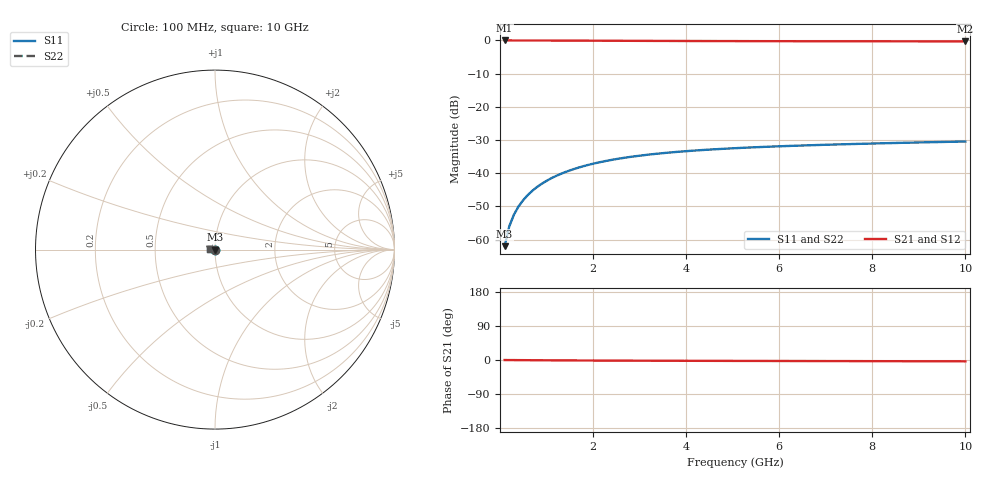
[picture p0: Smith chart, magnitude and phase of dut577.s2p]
! Touchstone file exported from HFSS 2024.1.0
!  File:  C:/UserFiles/LocalFiles/RDL_TSV_Batchsim/temp_TSV1_577_1779708716.aedt
!  Generated:  07:38:24 PM May 25, 2026
!  Design:  TSV1
!  Project:  temp_TSV1_577_1779708716
!  Setup:  Setup1
!  Solution:  Sweep
! Variables:
!  dtsv = 9.91um
!  hbump = 3um
!  htsv = 51.32um
!  lrdl = 252.1521522um
!  p = 40
!  p1 = 49.43um
!  t = 500um
!  trdl = 3um
!  wrdl = 24.89489489um
# GHz S MA R 50.000000
! Terminal data exported
! Port[1] = TSV22_T1
! Port[2] = TSV22_T2
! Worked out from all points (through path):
!   100 points, 100 MHz to 10 GHz, reference 50 ohm
!   highest |S21| = 0.00 dB at 100 MHz (marker M1); lowest = -0.3 dB at 10 GHz (marker M2)
!   lowest |S11| = -62.0 dB at 100 MHz (marker M3), VSWR 1.00, Z = 50 - j0.079 ohm
!   |S11| at or under -10 dB: start of sweep to end of sweep
!   |S22| runs from -62.0 to -30.5 dB; largest |S21 - S12| = 7.8e-15
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0.1  0.0007946 -83.5  0.9999 -0.1  0.9999 -0.1  0.0007946 -83.5
! Gamma 0 0 0 0
! Port Impedance 50 0 50 0
0.2  0.001582 -89.3  0.9998 -0.2  0.9998 -0.2  0.001582 -89.3
0.3  0.002372 -92.6  0.9996 -0.3  0.9996 -0.3  0.002372 -92.6
0.4  0.003157 -95.2  0.9994 -0.3  0.9994 -0.3  0.003157 -95.2
0.5  0.003936 -97.5  0.9992 -0.4  0.9992 -0.4  0.003936 -97.5
0.6  0.004705 -99.7  0.9989 -0.5  0.9989 -0.5  0.004705 -99.7
0.7  0.005463 -101.7  0.9986 -0.6  0.9986 -0.6  0.005463 -101.7
0.8  0.006209 -103.7  0.9982 -0.6  0.9982 -0.6  0.006209 -103.7
0.9  0.006942 -105.7  0.9978 -0.7  0.9978 -0.7  0.006942 -105.7
1.1  0.008362 -109.4  0.9969 -0.9  0.9969 -0.9  0.008362 -109.4
1.4  0.01037 -114.7  0.9953 -1.1  0.9953 -1.1  0.01037 -114.7
1.6  0.01161 -118.1  0.9942 -1.2  0.9942 -1.2  0.01161 -118.1
1.8  0.01279 -121.3  0.993 -1.3  0.993 -1.3  0.01279 -121.3
2.1  0.01441 -125.8  0.9912 -1.5  0.9912 -1.5  0.01441 -125.8
2.5  0.01632 -131.5  0.9888 -1.6  0.9888 -1.6  0.01632 -131.5
2.9  0.01797 -136.6  0.9865 -1.8  0.9865 -1.8  0.01797 -136.6
3.4  0.01973 -142.4  0.9839 -2.0  0.9839 -2.0  0.01973 -142.4
4.2  0.02197 -150.5  0.9803 -2.2  0.9803 -2.2  0.02197 -150.5
5.1  0.02389 -158.1  0.9771 -2.4  0.9771 -2.4  0.02389 -158.1
6.7  0.02641 -169.1  0.9731 -2.8  0.9731 -2.8  0.02641 -169.1
8.4  0.02841 -178.5  0.9703 -3.2  0.9703 -3.2  0.02841 -178.5
10  0.03002 174.1  0.9685 -3.5  0.9685 -3.5  0.03002 174.1
